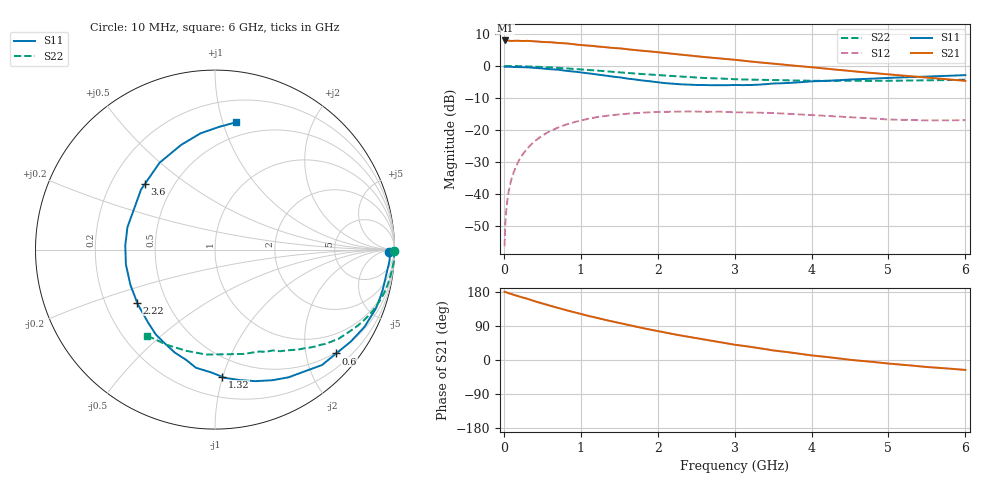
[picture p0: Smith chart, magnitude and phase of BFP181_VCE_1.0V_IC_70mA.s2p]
! Infineon Technologies  Discrete & RF Semiconductors
! BFP181
! VCE = 1.0 V,  IC =  70 mA
! Common Emitter S-Parameters:  Jan 2016
# GHz  S  MA  R  50
!  f  S11  S21  S12  S22
! GHz  MAG  ANG  MAG  ANG  MAG  ANG  MAG  ANG
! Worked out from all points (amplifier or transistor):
!   210 points, 10 MHz to 6 GHz, reference 50 ohm
!   highest |S21| = 8.0 dB at 20 MHz (marker M1)
!   |S21| within 3 dB of that: start of sweep to 1.7 GHz
!   unconditionally stable (mu >= 1): 3.176 GHz to end of sweep
!   at 185 MHz: K = 0.07, MSG = 19.0 dB, |S12| = -30.1 dB
!   at 1.52 GHz: K = 0.51, MSG = 10.3 dB, |S12| = -15.2 dB
!   at 6 GHz: K = 1.45, MAG = 2.2 dB, |S12| = -17.0 dB
!   S11 on the Smith chart (normalised r, x): 10 MHz: 57, -28; 600 MHz: 0.47, -2.63; 1.32 GHz: 0.35, -0.99; 2.22 GHz: 0.34, -0.28; 3.6 GHz: 0.35, +0.35; 6 GHz: 0.38, +1.10
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0.01  0.9719 -0.8  2.489 179.7  0.0015 85.2  0.9988 -0.3
0.015  0.9732 -1.2  2.499 179.6  0.0025 87.0  0.9982 -0.5
0.02  0.9746 -1.5  2.51 179.5  0.0035 87.7  0.9976 -0.7
0.04  0.9746 -2.8  2.499 177.8  0.0069 90.2  0.9975 -1.4
0.075  0.9703 -5.2  2.475 175.5  0.0128 86.6  0.9986 -2.6
0.115  0.9652 -7.9  2.466 173.0  0.0194 83.6  0.9984 -3.9
0.185  0.961 -12.6  2.48 168.5  0.0312 81.1  0.9931 -6.3
0.36  0.9424 -24.5  2.45 157.9  0.0596 72.7  0.9799 -12.1
0.6  0.8893 -40.6  2.367 143.4  0.0951 62.1  0.9511 -19.7
0.8  0.8423 -53.6  2.27 132.0  0.1196 53.7  0.9184 -25.4
1.02  0.7885 -67.6  2.119 120.6  0.1415 45.1  0.8788 -31.2
1.32  0.7096 -86.8  1.97 105.9  0.1646 34.4  0.8263 -38.4
1.5  0.6668 -99.2  1.896 97.4  0.1735 29.0  0.7925 -42.0
1.8  0.5929 -118.1  1.733 84.2  0.1856 21.4  0.7473 -47.2
2.02  0.5516 -132.5  1.631 75.4  0.1906 15.9  0.7177 -50.9
2.22  0.5248 -145.7  1.533 67.5  0.192 11.3  0.6907 -54.4
2.8  0.5003 177.4  1.313 47.0  0.1922 0.5  0.6377 -63.3
3.1  0.5012 160.6  1.213 37.7  0.1872 -4.0  0.615 -68.1
3.6  0.5349 137.0  1.058 22.9  0.1805 -9.7  0.5984 -76.4
4.1  0.5789 119.4  0.931 10.1  0.1677 -14.1  0.5848 -86.2
5.1  0.6573 95.4  0.721 -11.1  0.144 -16.4  0.5862 -108.0
6  0.7182 80.8  0.585 -26.2  0.1412 -11.4  0.6103 -128.2
